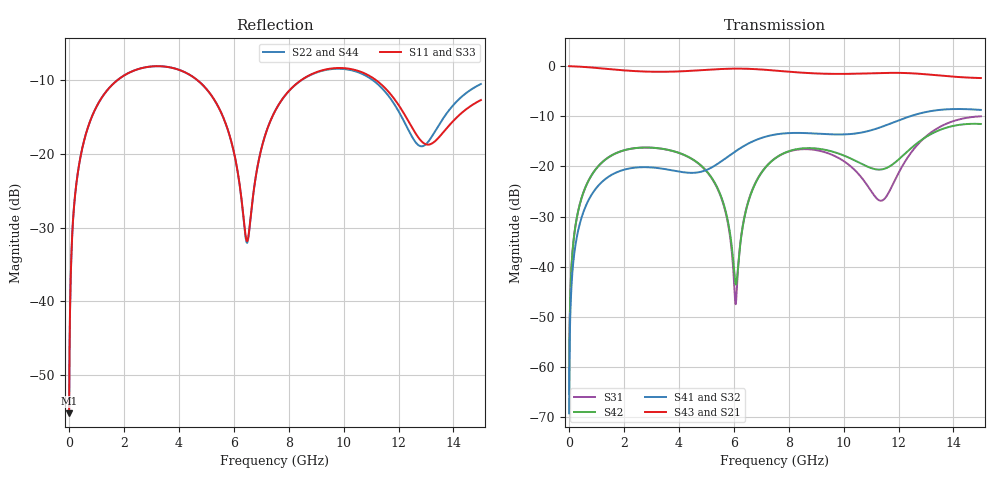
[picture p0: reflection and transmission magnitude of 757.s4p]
! Created with skrf 1.8.0 (http://scikit-rf.org).
# GHz S RI R 50.0
!freq ReS11 ImS11 ReS12 ImS12 ReS13 ImS13
! ReS14 ImS14
! ReS21 ImS21 ReS22 ImS22 ReS23 ImS23
! ReS24 ImS24
! ReS31 ImS31 ReS32 ImS32 ReS33 ImS33
! ReS34 ImS34
! ReS41 ImS41 ReS42 ImS42 ReS43 ImS43
! ReS44 ImS44
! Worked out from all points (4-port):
!   2499 points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, 5 MHz to 15 GHz, reference 50 ohm
!   strongest paths, dB at 5 MHz, 3.476 GHz, 7.19 GHz, 11.1 GHz, 15 GHz:
!     S43: 0.0, -1.1, -0.7, -1.4, -2.4
!     S21: 0.0, -1.1, -0.7, -1.4, -2.4
!     S41: -69.2, -20.5, -14.0, -12.6, -8.7
!     S32: -69.2, -20.6, -14.0, -12.6, -8.8
!     S42: -65.2, -16.5, -20.0, -20.5, -11.5
!     S31: -65.2, -16.6, -19.9, -25.6, -10.0
!   lowest |S11| = -55.2 dB at 5 MHz (marker M1), VSWR 1.00, Z = 50.1 + j0.106 ohm
!   |S11| at or under -10 dB: start of sweep to 1.755 GHz; 4.684 GHz to 8.446 GHz (3.761 GHz wide, 57.3 % of centre); 11.19 GHz to end of sweep
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0.005  0.00139 0.00106  0.9986 -0.0027  6.87e-05 0.000543  -6.68e-05 -0.000341
       0.9986 -0.0027  0.00139 0.00106  -6.68e-05 -0.000341  6.87e-05 0.000543
       6.87e-05 0.000543  -6.68e-05 -0.000341  0.00139 0.00106  0.9986 -0.0027
       -6.68e-05 -0.000341  6.87e-05 0.000543  0.9986 -0.0027  0.00139 0.00106
0.3126303  0.0181 0.0704  0.9753 -0.1692  0.008 0.0328  -0.00669 -0.0205
           0.9753 -0.1692  0.0182 0.0704  -0.00668 -0.0205  0.00801 0.0328
           0.008 0.0328  -0.00668 -0.0205  0.0182 0.0704  0.9753 -0.1692
           -0.00669 -0.0205  0.00801 0.0328  0.9753 -0.1692  0.0181 0.0704
1.569404  0.2236 0.1916  0.6442 -0.6679  0.1082 0.0714  -0.0804 -0.0209
          0.6442 -0.6679  0.2237 0.1915  -0.0803 -0.021  0.1085 0.0712
          0.1082 0.0714  -0.0803 -0.021  0.2237 0.1915  0.6442 -0.6679
          -0.0804 -0.0209  0.1085 0.0712  0.6442 -0.6679  0.2235 0.1916
6.065027  0.0417 -0.0813  -0.9074 -0.2593  -0.00423 -0.000462  -0.0333 0.1378
          -0.9074 -0.2593  0.0409 -0.0812  -0.0363 0.137  -0.00664 -0.00143
          -0.00423 -0.000462  -0.0363 0.137  0.0398 -0.0812  -0.9074 -0.2594
          -0.0333 0.1378  -0.00664 -0.00143  -0.9074 -0.2594  0.0424 -0.0801
6.496457  0.0257 0.0014  -0.9391 -0.0502  0.00653 0.0414  -0.00245 0.1672
          -0.9391 -0.0502  0.0251 0.00184  -0.00601 0.1672  0.00463 0.0409
          0.00653 0.0414  -0.00601 0.1672  0.0238 0.00199  -0.9391 -0.0503
          -0.00245 0.1672  0.00463 0.0409  -0.9391 -0.0503  0.0269 0.00232
10.39183  0.3651 -0.0762  0.1498 0.8254  0.0519 -0.0772  0.1999 -0.0719
          0.1498 0.8254  0.3584 -0.0739  0.2015 -0.0646  0.0444 -0.1065
          0.0519 -0.0772  0.2015 -0.0646  0.3645 -0.075  0.149 0.8261
          0.1999 -0.0719  0.0444 -0.1065  0.149 0.8261  0.3568 -0.0735
15  0.2285 0.0432  0.5418 -0.5313  0.3084 0.0702  -0.3168 -0.1835
    0.5418 -0.5313  0.2931 0.0579  -0.3066 -0.1935  0.2215 0.1456
    0.3084 0.0702  -0.3066 -0.1935  0.2306 0.0426  0.5451 -0.5299
    -0.3168 -0.1835  0.2215 0.1456  0.5451 -0.5299  0.2852 0.0539
